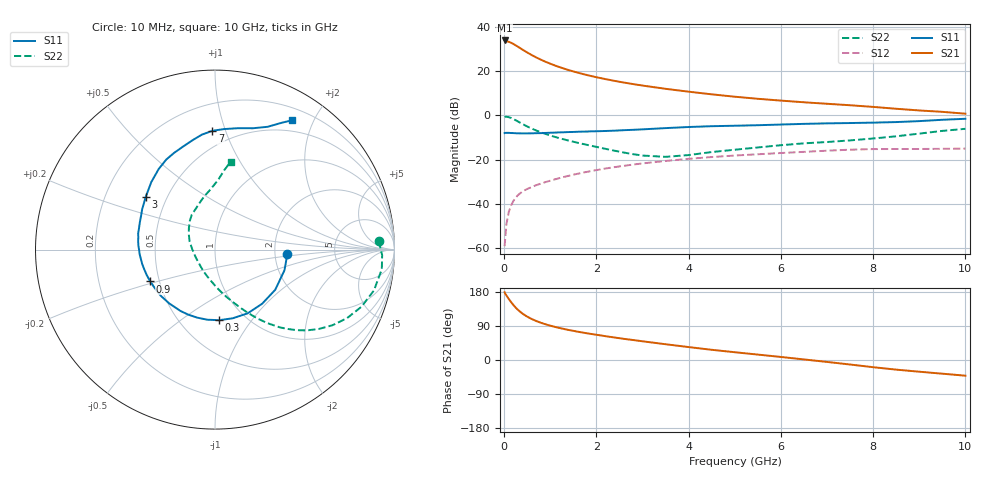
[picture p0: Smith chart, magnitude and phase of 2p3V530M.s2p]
! (c) 2009  Infineon Technologies AG, Munich
! Infineon Technologies  Discrete & RF Semiconductors
! BFP420
! VCE =  3.5 V,  IC =  30 mA
! Common Emitter S-Parameters:  Nov 2009
# GHz  S  MA  R  50
!  f  S11  S21  S12  S22
! GHz  MAG  ANG  MAG  ANG  MAG  ANG  MAG  ANG
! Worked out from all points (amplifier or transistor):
!   46 points, 10 MHz to 10 GHz, reference 50 ohm
!   highest |S21| = 33.9 dB at 10 MHz (marker M1)
!   |S21| within 3 dB of that: start of sweep to 311.6 MHz
!   unconditionally stable (mu >= 1): start of sweep to 16.01 MHz; 1.577 GHz to end of sweep
!   at 300 MHz: K = 0.41, MSG = 33.6 dB, |S12| = -36.1 dB
!   at 1.7 GHz: K = 1.02, MAG = 21.5 dB, |S12| = -25.9 dB
!   at 10 GHz: K = 1.06, MAG = 6.4 dB, |S12| = -15.0 dB
!   lowest NFmin = 1.51 dB at 900 MHz
!   S11 on the Smith chart (normalised r, x): 10 MHz: 2.32, -0.15; 300 MHz: 0.76, -0.71; 900 MHz: 0.45, -0.19; 3 GHz: 0.38, +0.29; 7 GHz: 0.38, +0.90; 10 GHz: 0.35, +1.71
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0.01  0.3994 -3.9  49.8 178.9  0.0011 80.4  0.9138 2.9
0.02  0.4023 -6.2  48.55 175.8  0.0015 82.8  0.9318 -1.9
0.05  0.4038 -16.6  47.93 170.3  0.0035 78.6  0.9358 -6.7
0.1  0.4034 -33.7  46.54 161.2  0.0065 77.1  0.9144 -14.4
0.15  0.4 -48.9  44.2 152.8  0.0092 73.1  0.876 -21.3
0.2  0.3991 -62.8  41.52 145.2  0.0116 69.5  0.829 -27.4
0.25  0.3952 -75.5  38.58 138.3  0.0138 66.8  0.7792 -32.7
0.3  0.394 -86.5  35.88 132.3  0.0157 64.5  0.7292 -37.3
0.4  0.3918 -104.7  30.83 122.3  0.019 61.4  0.6393 -44.6
0.45  0.3918 -112.4  28.61 118.2  0.0204 60.4  0.5997 -47.5
0.6  0.3938 -130.5  23.21 107.9  0.0241 58.7  0.5034 -54.5
0.7  0.3969 -139.7  20.46 102.7  0.0265 58.3  0.4542 -58.1
0.9  0.4021 -153.8  16.36 94.1  0.0311 58.0  0.3806 -63.9
1.3  0.4164 -172.9  11.46 81.8  0.0407 57.6  0.2864 -74.0
1.7  0.4309 173.6  8.709 72.5  0.0505 56.1  0.2272 -83.9
2.2  0.4451 160.3  6.633 62.8  0.063 53.0  0.1753 -97.5
3  0.4844 142.9  4.748 49.4  0.0821 46.5  0.1237 -130.1
3.5  0.517 133.4  4.007 41.6  0.0934 41.9  0.1157 -157.1
5.5  0.601 107.2  2.383 14.3  0.1324 23.2  0.1886 140.5
7  0.6619 91.3  1.837 -5.1  0.1593 9.1  0.2504 115.6
8.5  0.7081 72.7  1.416 -25.4  0.174 -8.0  0.3374 94.1
10  0.8403 59.1  1.095 -41.4  0.1779 -19.4  0.4987 79.8
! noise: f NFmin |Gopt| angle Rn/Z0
0.9  1.51  0.26  -155  0.13
1.8  1.78  0.33  -142  0.14
2.4  1.96  0.3  -136  0.18
3  1.98  0.38  -127  0.2
4  2.11  0.47  -111  0.31
5  2.57  0.53  -94  0.51
6  3  0.57  -82  0.74
